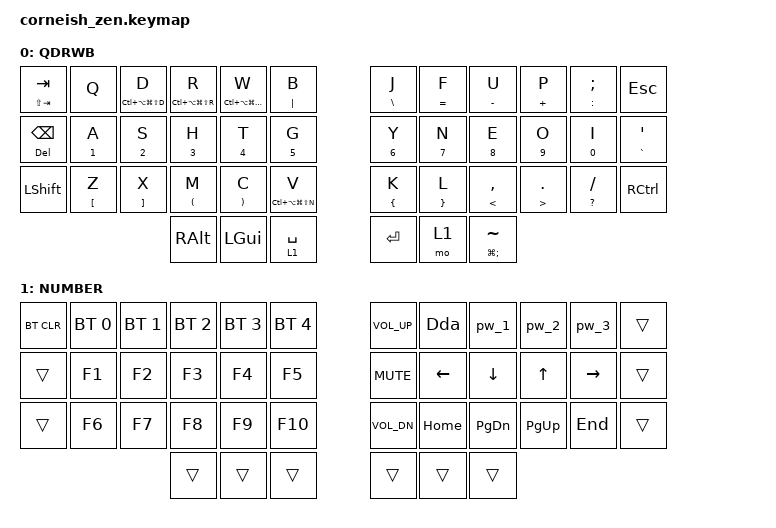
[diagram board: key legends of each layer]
#include <behaviors.dtsi>
#include <dt-bindings/zmk/bt.h>
#include <dt-bindings/zmk/keys.h>

/ {
    chosen {
        zmk,matrix_transform = &default_transform;
    };
};

/ {
    behaviors {
        gqt: global-quick-tap {
            compatible = "zmk,behavior-hold-tap";
            label = "GLOBAL_QUICK_TAP";
            #binding-cells = <2>;
            flavor = "tap-preferred";
            tapping-term-ms = <200>;
            quick-tap-ms = <125>;
            global-quick-tap;
            bindings = <&kp>, <&kp>;
        };
    };

    macros {
        Dda: Dda {
            compatible = "zmk,behavior-macro";
            #binding-cells = <0>;
            bindings = <&kp D &kp D &kp A &kp SPACE>;
            label = "DDA";
        };

        pw_1: pw_1 {
            compatible = "zmk,behavior-macro";
            #binding-cells = <0>;
            bindings = <&kp P &kp W &kp UNDER &kp N1 &kp SPACE>;
            label = "PW_1";
        };

        pw_2: pw_2 {
            compatible = "zmk,behavior-macro";
            #binding-cells = <0>;
            bindings = <&kp P &kp W &kp UNDER &kp N2 &kp SPACE>;
            label = "PW_2";
        };

        pw_3: pw_3 {
            compatible = "zmk,behavior-macro";
            #binding-cells = <0>;
            bindings = <&kp P &kp W &kp UNDER &kp N3 &kp SPACE>;
            label = "PW_3";
        };
    };

    combos {
        compatible = "zmk,combos";

        Copy {
            bindings = <&kp LG(C)>;
            key-positions = <14 15>;
        };

        Paste {
            bindings = <&kp LG(V)>;
            key-positions = <15 16>;
        };

        Cut {
            bindings = <&kp LG(X)>;
            key-positions = <13 14>;
        };
    };

    keymap {
        compatible = "zmk,keymap";

        default_layer {
            label = "QDRWB";

            // -----------------------------------------------------------------------------------------
            // | TAB  |  Q  |  D  |  R  |  W  |  B  |   |  J  |  F   |  U  |  P  |  ;  | ESC   |
            // | BSPC |  A  |  S  |  H  |  T  |  G  |   |  Y  |  N   |  E  |  O  |  I  |  '    |
            // | SHFT |  Z  |  X  |  M  |  C  |  V  |   |  K  |  L   |  ,  |  .  |  /  | CTRL  |
            //                    | ALT | GUI | SPC |   | ENT | LWR  |  ~  |

            bindings = <
&gqt LS(TAB) TAB  &kp Q        &gqt LC(LA(LG(LS(D)))) D  &gqt LC(LA(LG(LS(R)))) R  &gqt LC(LA(LG(LS(W)))) W  &gqt PIPE B                 &gqt BSLH J  &gqt EQUAL F  &gqt MINUS U         &gqt PLUS P  &gqt COLON SEMI  &kp ESC
&gqt DEL BSPC     &gqt N1 A    &gqt N2 S                 &gqt N3 H                 &gqt N4 T                 &gqt N5 G                   &gqt N6 Y    &gqt N7 N     &gqt N8 E            &gqt N9 O    &gqt N0 I        &gqt GRAVE SQT
&kp LSHFT         &gqt LBKT Z  &gqt RBKT X               &gqt LPAR M               &gqt RPAR C               &gqt LC(LA(LG(LS(N)))) V    &gqt LBRC K  &gqt RBRC L   &gqt LT COMMA        &gqt GT DOT  &gqt QMARK FSLH  &kp RCTRL
                                                         &kp RALT                  &kp LGUI                  &lt 1 SPACE                 &kp RET      &mo 1         &gqt LG(SEMI) TILDE
            >;
        };

        lower_layer {
            label = "NUMBER";

            // -----------------------------------------------------------------------------------------
            // | BTCLR| BT1 | BT2 | BT3 | BT4 | BT5 |   |     |      |       |       |     |      |
            // |      | F1  | F2  | F3  | F4  | F5  |   |     | LFT  | DWN   |  UP   | RGT |      |
            // |      | F6  | F7  | F8  | F9  | F10 |   |     | HOME | PG_DN | PG_UP | END |      |
            //                    |     |     |     |   |     |      |       |

            bindings = <
&bt BT_CLR  &bt BT_SEL 0  &bt BT_SEL 1  &bt BT_SEL 2  &bt BT_SEL 3  &bt BT_SEL 4    &kp C_VOLUME_UP  &Dda      &pw_1      &pw_2      &pw_3      &trans
&trans      &kp F1        &kp F2        &kp F3        &kp F4        &kp F5          &kp K_MUTE       &kp LEFT  &kp DOWN   &kp UP     &kp RIGHT  &trans
&trans      &kp F6        &kp F7        &kp F8        &kp F9        &kp F10         &kp C_VOL_DN     &kp HOME  &kp PG_DN  &kp PG_UP  &kp END    &trans
                                        &trans        &trans        &trans          &trans           &trans    &trans
            >;
        };
    };
};
